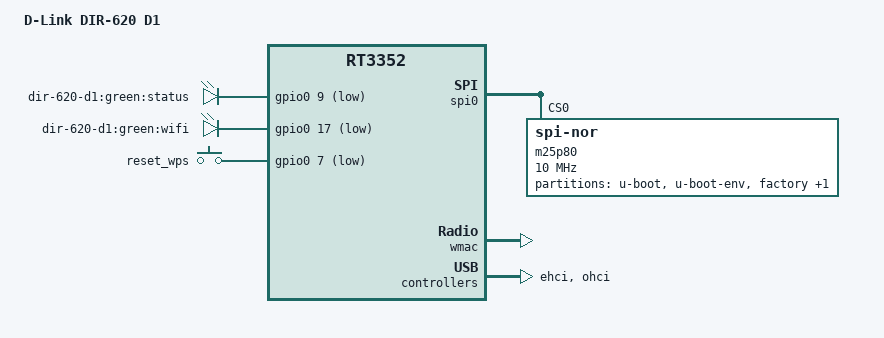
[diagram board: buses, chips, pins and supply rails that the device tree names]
/dts-v1/;

#include "rt3352.dtsi"

/ {
	compatible = "DIR-620-D1", "ralink,rt3352-soc";
	model = "D-Link DIR-620 D1";

	gpio-leds {
		compatible = "gpio-leds";

		status {
			label = "dir-620-d1:green:status";
			gpios = <&gpio0 9 1>;
		};

		wifi {
			label = "dir-620-d1:green:wifi";
			gpios = <&gpio0 17 1>;
		};
	};

	gpio-keys-polled {
		compatible = "gpio-keys-polled";
		#address-cells = <1>;
		#size-cells = <0>;
		poll-interval = <20>;

		reset_wps {
			label = "reset_wps";
			gpios = <&gpio0 7 1>;
			linux,code = <0x198>;
		};
	};
};

&spi0 {
	status = "okay";

	m25p80@0 {
		#address-cells = <1>;
		#size-cells = <1>;
		compatible = "jedec,spi-nor";
		reg = <0>;
		linux,modalias = "m25p80", "mx25l6405d";
		spi-max-frequency = <10000000>;

		partition@0 {
			label = "u-boot";
			reg = <0x0 0x30000>;
			read-only;
		};

		partition@30000 {
			label = "u-boot-env";
			reg = <0x30000 0x10000>;
			read-only;
		};

		factory: partition@40000 {
			label = "factory";
			reg = <0x40000 0x10000>;
			read-only;
		};

		partition@50000 {
			label = "firmware";
			reg = <0x50000 0x7b0000>;
		};
	};
};

&pinctrl {
	state_default: pinctrl0 {
		gpio {
			ralink,group = "i2c", "jtag", "uartf";
			ralink,function = "gpio";
		};

		rgmii {
			ralink,group = "rgmii";
			ralink,function = "rgmii";
		};

		mdio {
			ralink,group = "mdio";
			ralink,function = "mdio";
		};
	};
};

&ethernet {
	mtd-mac-address = <&factory 0x4>;
};

&esw {
	mediatek,portmap = <0x2f>;
};

&wmac {
	ralink,mtd-eeprom = <&factory 0>;
};

&ehci {
	status = "okay";
};

&ohci {
	status = "okay";
};
